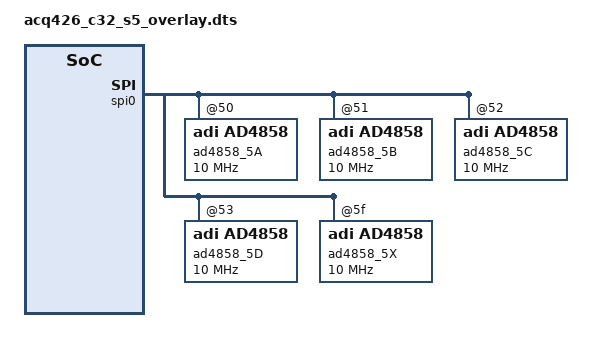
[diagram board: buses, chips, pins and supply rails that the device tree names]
// SPDX-License-Identifier: GPL-2.0
/dts-v1/;
/plugin/;	/* allow undefined label references and record them */

/ {
	fragment@0 {
		target = <&spi0>;
		__overlay__ {
			#address-cells = <1>;
			#size-cells = <0>;			
			status = "okay";

			ad4858_5A: adc@50{		
/*                
                refin-supply = <&refin>;
                clocks = <&ref_clk>;
                clock-names = "scki";
                dmas = <&rx_dma 0>;
                dma-names = "rx";
                pwms = <&axi_pwm_gen 0 0>;
                pwm-names = "cnv";
*/
				reg = <0x50>;
				spi-max-frequency = <10000000>;
				compatible = "adi,ad4858";
			};
			ad4858_5B: adc@51{
				reg = <0x51>;

				spi-max-frequency = <10000000>;
				compatible = "adi,ad4858";
			};
			ad4858_5C: adc@52{
				reg = <0x52>;

				spi-max-frequency = <10000000>;
				compatible = "adi,ad4858";
			};
			ad4858_5D: adc@53{
				reg = <0x53>;

				spi-max-frequency = <10000000>;
				compatible = "adi,ad4858";
			};			
			ad4858_5X: adc@5f{
				reg = <0x5F>;

				spi-max-frequency = <10000000>;
				compatible = "adi,ad4858";
			};
		};
	};
};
